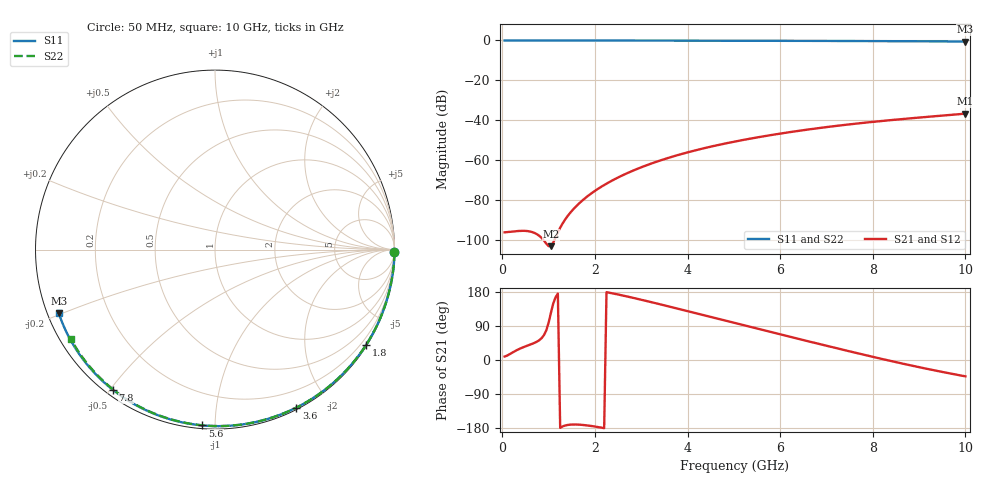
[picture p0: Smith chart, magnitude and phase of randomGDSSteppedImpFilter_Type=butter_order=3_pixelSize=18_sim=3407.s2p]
! freq	dB(S11)	phase(S11)	dB(S12)	phase(S12)
!  dB(S21)	phase(S21)	dB(S22)	phase(S22)
!S-par simulation data
#  GHz  S  DB  R 50
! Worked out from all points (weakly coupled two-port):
!   200 points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, 50 MHz to 10 GHz, reference 50 ohm
!   highest |S21| = -36.76 dB at 10 GHz (marker M1); lowest = -103.3 dB at 1.05 GHz (marker M2)
!   lowest |S11| = -0.5 dB at 10 GHz (marker M3), VSWR 32.26, Z = 1.61 - j9.79 ohm
!   |S11| at or under -10 dB: nowhere
!   |S22| runs from -0.5 to 0.0 dB; largest |S21 - S12| = 0
!   S11 on the Smith chart (normalised r, x): 50 MHz: open; 1.8 GHz: 0.03, -3.46; 3.6 GHz: 0.02, -1.64; 5.6 GHz: 0.02, -0.93; 7.8 GHz: 0.02, -0.51; 10 GHz: 0.03, -0.20
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0.05  -0.00 -0.9  -96.37 9.2  -96.37 9.2  -0.00 -0.9
0.55  -0.01 -10.0  -95.77 38.3  -95.77 38.3  -0.01 -9.5
1.05  -0.02 -19.0  -103.33 124.5  -103.33 124.5  -0.02 -18.0
1.75  -0.04 -31.4  -79.96 -171.5  -79.96 -171.5  -0.04 -29.7
1.8  -0.04 -32.3  -79.00 -172.2  -79.00 -172.2  -0.04 -30.5
1.95  -0.04 -34.9  -76.37 -174.6  -76.37 -174.6  -0.04 -33.0
2.1  -0.05 -37.5  -74.04 -177.6  -74.04 -177.6  -0.04 -35.5
2.3  -0.05 -40.9  -71.28 177.9  -71.28 177.9  -0.05 -38.7
2.5  -0.06 -44.4  -68.83 172.9  -68.83 172.9  -0.05 -42.0
2.9  -0.07 -51.2  -64.64 161.9  -64.64 161.9  -0.06 -48.4
3.4  -0.08 -59.5  -60.37 147.2  -60.37 147.2  -0.07 -56.3
3.6  -0.08 -62.8  -58.88 141.2  -58.88 141.2  -0.08 -59.5
4.3  -0.11 -74.1  -54.44 119.7  -54.44 119.7  -0.10 -70.2
5.05  -0.13 -85.8  -50.65 96.6  -50.65 96.6  -0.12 -81.3
5.6  -0.16 -94.2  -48.31 79.8  -48.31 79.8  -0.15 -89.2
6.15  -0.18 -102.3  -46.26 63.1  -46.26 63.1  -0.17 -96.9
6.7  -0.22 -110.4  -44.43 46.6  -44.43 46.6  -0.20 -104.5
7.25  -0.25 -118.3  -42.81 30.2  -42.81 30.2  -0.24 -111.9
7.8  -0.30 -126.1  -41.38 14.1  -41.38 14.1  -0.28 -119.3
8.35  -0.34 -133.9  -40.10 -1.5  -40.10 -1.5  -0.32 -126.5
9.2  -0.43 -146.1  -38.34 -24.1  -38.34 -24.1  -0.40 -137.6
10  -0.54 -157.8  -36.76 -43.1  -36.76 -43.1  -0.49 -148.1
